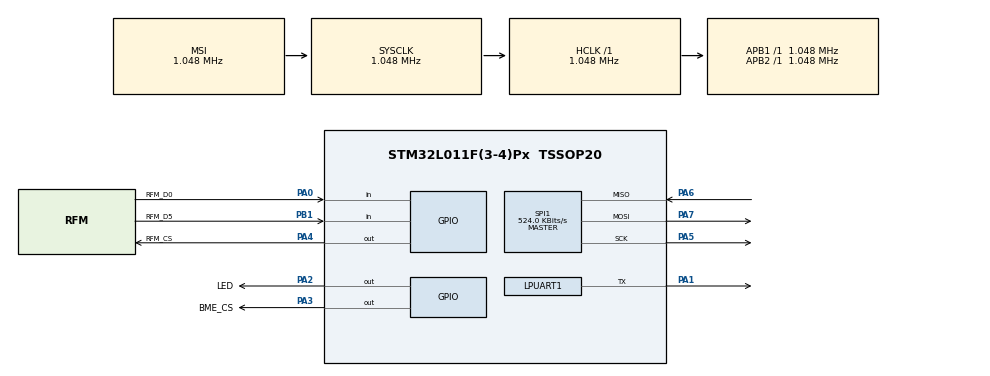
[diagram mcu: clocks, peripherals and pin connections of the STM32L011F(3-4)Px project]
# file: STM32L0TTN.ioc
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LPUART1.BaudRate=115200
LPUART1.Mode=UART_MODE_TX
LPUART1.WordLength=UART_WORDLENGTH_8B
Mcu.Family=STM32L0
Mcu.Name=STM32L011F(3-4)Px
Mcu.Package=TSSOP20
Mcu.UserConstants=INTERVAL_S,300
NVIC.RTC_IRQn=true\:0\:0\:false\:false\:true\:true\:true
PA0-CK_IN.GPIO_Label=RFM_D0
PA0-CK_IN.Signal=GPIO_Input
PA1.Mode=Half_duplex(single_wire_mode)
PA1.Signal=LPUART1_TX
PA13.Mode=Serial_Wire
PA13.Signal=SYS_SWDIO
PA14.Mode=Serial_Wire
PA14.Signal=SYS_SWCLK
PA2.GPIO_Label=LED
PA2.PinState=GPIO_PIN_SET
PA2.Signal=GPIO_Output
PA3.GPIO_Label=BME_CS
PA3.Signal=GPIO_Output
PA4.GPIO_Label=RFM_CS
PA4.Signal=GPIO_Output
PA5.Mode=Full_Duplex_Master
PA5.Signal=SPI1_SCK
PA6.Mode=Full_Duplex_Master
PA6.Signal=SPI1_MISO
PA7.Mode=Full_Duplex_Master
PA7.Signal=SPI1_MOSI
PB1.GPIO_Label=RFM_D5
PB1.Signal=GPIO_Input
ProjectManager.HeapSize=0x200
ProjectManager.StackSize=0x400
ProjectManager.TargetToolchain=STM32CubeIDE
RCC.AHBFreq_Value=1048000
RCC.APB1Freq_Value=1048000
RCC.APB1TimFreq_Value=1048000
RCC.APB2Freq_Value=1048000
RCC.APB2TimFreq_Value=1048000
RCC.HCLKFreq_Value=1048000
RCC.HSE_VALUE=8000000
RCC.HSI16_VALUE=16000000
RCC.HSI_VALUE=16000000
RCC.LSE_VALUE=32768
RCC.MSIClockRange=RCC_MSIRANGE_4
RCC.MSI_VALUE=1048000
RCC.SYSCLKFreq_VALUE=1048000
RCC.VCOOutputFreq_Value=48000000
RTC.SynchPrediv=290
RTC.WakeUpClock-WakeUp=RTC_WAKEUPCLOCK_CK_SPRE_16BITS
RTC.WakeUpCounter-WakeUp=INTERVAL_S
SPI1.CalculateBaudRate=524.0 KBits/s
SPI1.Direction=SPI_DIRECTION_2LINES
SPI1.Mode=SPI_MODE_MASTER
SPI1.VirtualType=VM_MASTER
VP_ADC_Vref_Input.Mode=IN-Vrefint
VP_RTC_VS_RTC_Activate.Mode=RTC_Enabled
VP_RTC_VS_RTC_WakeUp_intern.Mode=WakeUp
board=custom

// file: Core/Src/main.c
/* USER CODE BEGIN Header */
/**
  ******************************************************************************
  * @file           : main.c
  * @brief          : Main program body
  ******************************************************************************
  * @attention
  *
  * <h2><center>&copy; Copyright (c) 2020 STMicroelectronics.
  * All rights reserved.</center></h2>
  *
  * This software component is licensed by ST under BSD 3-Clause license,
  * the "License"; You may not use this file except in compliance with the
  * License. You may obtain a copy of the License at:
  *                        opensource.org/licenses/BSD-3-Clause
  *
  ******************************************************************************
  */
/* USER CODE END Header */
#include "main.h"

/* USER CODE BEGIN Includes */

#include <bme280.h>
#include <rfm95.h>
#include <lorawan.h>
#include <secconfig.h>

/* USER CODE END Includes */

/* USER CODE BEGIN PTD */

typedef struct pins {
  GPIO_TypeDef *port;
  uint32_t     pin;
} pin_t;

/* USER CODE END PTD */

/* USER CODE BEGIN PD */

// no LED and no UART after this frame
#define QUIET_FRAME 10

/* USER CODE END PD */

RTC_HandleTypeDef hrtc;

/* USER CODE BEGIN PV */

// BME280 driver requires SPI read/write interface functions to use only one uint8 as device id.
// STM32 pins in LL libs are defined by port and pin so pin alone cannot be used as device id.
// To be able to reuse the same SPI functions for RFM and BME280, I use a dev -> port/pin mapping table
pin_t pins[] = {
  { BME_CS_GPIO_Port, BME_CS_Pin },
  { RFM_CS_GPIO_Port, RFM_CS_Pin },
  { RFM_D0_GPIO_Port, RFM_D0_Pin },
  { RFM_D5_GPIO_Port, RFM_D5_Pin }
};

// must correspond to array index above
typedef enum {
  BME280_CS_PIN_ID,
  RFM95_NSS_PIN_ID,
  RFM95_DIO0_PIN_ID,
  RFM95_DIO5_PIN_ID
} pin_id_t;

struct bme280_dev bme280_dev;
struct bme280_data bme280_data;
uint32_t bme280_delay;

rfm95_t rfm95_dev;
uint8_t rfm95_ver;
lorawan_t lorawan;
uint16_t frame_counter;

/* USER CODE END PV */

void SystemClock_Config(void);
static void MX_GPIO_Init(void);
static void MX_LPUART1_UART_Init(void);
static void MX_RTC_Init(void);
static void MX_SPI1_Init(void);
static void MX_ADC_Init(void);

/* USER CODE BEGIN 0 */

void putstr( const char *str ) {
  if( frame_counter > QUIET_FRAME )  return;
  LL_LPUART_Enable(LPUART1);
  while (*str) {
    while (!LL_LPUART_IsActiveFlag_TXE(LPUART1));
    LL_LPUART_TransmitData8(LPUART1, (uint8_t)*str++);
  }
  while (!LL_LPUART_IsActiveFlag_TC(LPUART1));
  LL_LPUART_Disable(LPUART1);
}

void putul( unsigned long u ) {
  if( frame_counter > QUIET_FRAME )  return;
  char num[11];
  char *d = &num[sizeof(num)-1];
  *d = '\0';
  if( u ) {
    while(u) {
      *(--d) = '0' + u % 10;
      u /= 10;
    }
  }
  else {
    *(--d) = '0';
  }
  putstr(d);
}

void puthex( uint8_t val ) {
  if( frame_counter > QUIET_FRAME )  return;
  static char hex[] = "0123456789abcdef";
  char msg[3];
  msg[0] = hex[val >> 4];
  msg[1] = hex[val & 0xf];
  msg[2] = '\0';
  putstr(msg);
}

int8_t duplexSpi(uint8_t dev, uint8_t addr, uint8_t *data, uint16_t len) {
  LL_SPI_Enable(SPI1);
  LL_GPIO_ResetOutputPin(pins[dev].port, pins[dev].pin);

  LL_SPI_TransmitData8(SPI1, addr);

  while (!LL_SPI_IsActiveFlag_RXNE(SPI1));   // wait for rx to finish
  LL_SPI_ReceiveData8(SPI1);                 // avoid overflow

  while (len--) {
    while (!LL_SPI_IsActiveFlag_TXE(SPI1));  // wait for tx to finish
    LL_SPI_TransmitData8(SPI1, *data);       // send data or generate clock for slave

    while (!LL_SPI_IsActiveFlag_RXNE(SPI1)); // wait for rx to finish
    *data = LL_SPI_ReceiveData8(SPI1);       // read receive result
    data++;
  }

  while (LL_SPI_IsActiveFlag_BSY(SPI1));
  LL_GPIO_SetOutputPin(pins[dev].port, pins[dev].pin);
  LL_SPI_Disable(SPI1);

  return 0;
}

uint8_t readPin(uint8_t dev) {
  return LL_GPIO_IsInputPinSet(pins[dev].port, pins[dev].pin);
}

uint8_t *serialize(uint8_t *data, uint32_t value, size_t size) {
  while( size-- ) {
    *(data++) = value & 0xff;
    value >>= 8;
  }
  return data;
}

uint16_t getVdda() {
  LL_ADC_Enable(ADC1);

  while( !LL_ADC_IsActiveFlag_ADRDY(ADC1) );
  LL_ADC_REG_StartConversion(ADC1);
  while( !LL_ADC_IsActiveFlag_EOC(ADC1) );

  uint16_t mV = LL_ADC_REG_ReadConversionData12(ADC1);
  mV = VREFINT_CAL_VREF * (*VREFINT_CAL_ADDR) / mV;

  while( !LL_ADC_IsActiveFlag_EOS(ADC1) );
  LL_ADC_Disable(ADC1);

  return mV;
}

void bme_setup() {
  bme280_dev.dev_id = BME280_CS_PIN_ID;
  bme280_dev.intf = BME280_SPI_INTF;
  bme280_dev.read = duplexSpi;
  bme280_dev.write = duplexSpi;
  bme280_dev.delay_ms = LL_mDelay;

  int bme_init = 0;

  while( !bme_init ) {
    if (bme280_init(&bme280_dev) == BME280_OK) {
      bme280_dev.settings.osr_h = BME280_OVERSAMPLING_1X;
      bme280_dev.settings.osr_p = BME280_OVERSAMPLING_16X;
      bme280_dev.settings.osr_t = BME280_OVERSAMPLING_2X;
      bme280_dev.settings.filter = BME280_FILTER_COEFF_16;
      if( bme280_set_sensor_settings(BME280_OSR_PRESS_SEL | BME280_OSR_TEMP_SEL | BME280_OSR_HUM_SEL | BME280_FILTER_SEL, &bme280_dev) == BME280_OK ) {
        bme280_delay = bme280_cal_meas_delay(&bme280_dev.settings);
        putstr(" BME delayMs:"); putul(bme280_delay);
        if( bme280_delay ) {
          bme_init = 1;
        }
      }
      else {
        putstr(" BME setup error!\n");
      }
    }
    else {
      putstr(" BME init error!\n");
    }

    if( ! bme_init ) {
      LL_mDelay(1000);
    }
  }
}

int bme_read() {
  bme280_data.humidity = 0;
  if( bme280_set_sensor_mode(BME280_FORCED_MODE, &bme280_dev) == BME280_OK ) {
    bme280_dev.delay_ms(bme280_delay);
    bme280_get_sensor_data(BME280_ALL, &bme280_data, &bme280_dev);
  }

  return bme280_data.humidity >         0 && bme280_data.humidity  <= 100000
      && bme280_data.pressure >     81000 && bme280_data.pressure  <  110000
      && bme280_data.temperature > -50000 && bme280_data.temperature <= 9500;
}

void bme_print() {
  putstr(" T:");      putul(bme280_data.temperature);
  putstr(" c°C, H:"); putul(bme280_data.humidity);
  putstr(" m%, P:");  putul(bme280_data.pressure);
  putstr(" Pa");
}

void rfm_setup( uint32_t seed ) {
  rfm95_dev.nss_pin_id = RFM95_NSS_PIN_ID;
  rfm95_dev.dio0_pin_id = RFM95_DIO0_PIN_ID;
  rfm95_dev.dio5_pin_id = RFM95_DIO5_PIN_ID;
  rfm95_dev.spi_write = duplexSpi;
  rfm95_dev.spi_read = duplexSpi;
  rfm95_dev.delay = LL_mDelay;
  rfm95_dev.pin_read = readPin;

  while( rfm95_ver != 0x12 ) {
    rfm95_ver = rfm95_init(&rfm95_dev, seed);
  }

  lorawan_init(&lorawan, &rfm95_dev);
  lorawan_set_keys(&lorawan, NwkSkey, AppSkey, DevAddr);

  // Print test package
  if( 0 ) {
      uint8_t buf[8];
      for( size_t i=0; i<sizeof(buf); i++ ) {
        buf[i] = i;
      }

    lorawan_send_data(&lorawan, buf, sizeof(buf), 0);
  }
}

/* USER CODE END 0 */

int main(void)
{

  /* MCU Configuration--------------------------------------------------------*/

  /* Reset of all peripherals, Initializes the Flash interface and the Systick. */
  HAL_Init();

  /* Configure the system clock */
  SystemClock_Config();

  /* Initialize all configured peripherals */
  MX_GPIO_Init();
  MX_LPUART1_UART_Init();
  MX_RTC_Init();
  MX_SPI1_Init();
  MX_ADC_Init();
  /* USER CODE BEGIN 2 */

  LL_GPIO_SetOutputPin(pins[BME280_CS_PIN_ID].port, pins[BME280_CS_PIN_ID].pin);
  LL_GPIO_SetOutputPin(pins[RFM95_NSS_PIN_ID].port, pins[RFM95_NSS_PIN_ID].pin);

  frame_counter = (uint16_t)HAL_RTCEx_BKUPRead(&hrtc, RTC_BKP_DR0);

  // After a few standby cycles don't waste power on led
  if( frame_counter <= QUIET_FRAME ) {
    LL_GPIO_SetOutputPin(LED_GPIO_Port, LED_Pin);
  }

  putstr("\nStart ST32ML0TTN 1.2 " __DATE__ " " __TIME__ " device 0x");
  for( unsigned i = 0; i < 4; i++ ) {
    puthex(DevAddr[i]);
  }

  if(__HAL_PWR_GET_FLAG(PWR_FLAG_SB) != RESET) {
    putstr(" from standby");
    __HAL_PWR_CLEAR_FLAG(PWR_FLAG_SB);
  }
  else {
    putstr(" from reset");
    // At first power on give a button cell a bit of time
    // to charge a capacitor before sending something to prevent boot loop
    LL_mDelay(5000);
  }

  rfm_setup(frame_counter);
  bme_setup();

  /* USER CODE END 2 */

  /* Infinite loop */
  /* USER CODE BEGIN WHILE */
  while (1)
  {
    putstr(" standbys:"); putul(frame_counter);

    if( bme_read() ) {
      bme_print();

      uint16_t mV = getVdda();
      putstr(" mV:"); putul(mV);

      uint8_t Data[sizeof(bme280_data)+sizeof(mV)];
      uint8_t *data = Data;
      data = serialize(data, mV, sizeof(mV));
      data = serialize(data, (uint32_t)bme280_data.temperature, sizeof(bme280_data.temperature));
      data = serialize(data, bme280_data.humidity, sizeof(bme280_data.humidity));
      serialize(data, bme280_data.pressure, sizeof(bme280_data.pressure));

      putstr(" send ");
      putul(lorawan_send_data(&lorawan, Data, sizeof(Data), frame_counter)/1000);
      putstr(" kHz");
    }

    LL_GPIO_ResetOutputPin(LED_GPIO_Port, LED_Pin);

    if( frame_counter == QUIET_FRAME ) {
      putstr(" continue quietly\n");
    }

    HAL_RTCEx_BKUPWrite(&hrtc, RTC_BKP_DR0, ++frame_counter);

    putstr(" wake:"); putul(INTERVAL_S); putstr(" s");

    HAL_PWREx_EnableUltraLowPower();
    HAL_PWREx_EnableFastWakeUp();
    __HAL_PWR_CLEAR_FLAG(PWR_FLAG_WU);
    HAL_PWR_EnterSTANDBYMode();

    putstr(" STANDBY ERROR\n");

    LL_mDelay(60000);

    HAL_DeInit();
    NVIC_SystemReset();

    /* USER CODE END WHILE */

  }
}

void SystemClock_Config(void)
{
  RCC_OscInitTypeDef RCC_OscInitStruct = {0};
  RCC_ClkInitTypeDef RCC_ClkInitStruct = {0};
  RCC_PeriphCLKInitTypeDef PeriphClkInit = {0};

  /** Configure the main internal regulator output voltage
  */
  __HAL_PWR_VOLTAGESCALING_CONFIG(PWR_REGULATOR_VOLTAGE_SCALE1);
  /** Initializes the RCC Oscillators according to the specified parameters
  * in the RCC_OscInitTypeDef structure.
  */
  RCC_OscInitStruct.OscillatorType = RCC_OSCILLATORTYPE_LSI|RCC_OSCILLATORTYPE_MSI;
  RCC_OscInitStruct.LSIState = RCC_LSI_ON;
  RCC_OscInitStruct.MSIState = RCC_MSI_ON;
  RCC_OscInitStruct.MSICalibrationValue = 0;
  RCC_OscInitStruct.MSIClockRange = RCC_MSIRANGE_4;
  RCC_OscInitStruct.PLL.PLLState = RCC_PLL_NONE;
  if (HAL_RCC_OscConfig(&RCC_OscInitStruct) != HAL_OK)
  {
    Error_Handler();
  }
  /** Initializes the CPU, AHB and APB buses clocks
  */
  RCC_ClkInitStruct.ClockType = RCC_CLOCKTYPE_HCLK|RCC_CLOCKTYPE_SYSCLK
                              |RCC_CLOCKTYPE_PCLK1|RCC_CLOCKTYPE_PCLK2;
  RCC_ClkInitStruct.SYSCLKSource = RCC_SYSCLKSOURCE_MSI;
  RCC_ClkInitStruct.AHBCLKDivider = RCC_SYSCLK_DIV1;
  RCC_ClkInitStruct.APB1CLKDivider = RCC_HCLK_DIV1;
  RCC_ClkInitStruct.APB2CLKDivider = RCC_HCLK_DIV1;

  if (HAL_RCC_ClockConfig(&RCC_ClkInitStruct, FLASH_LATENCY_0) != HAL_OK)
  {
    Error_Handler();
  }
  PeriphClkInit.PeriphClockSelection = RCC_PERIPHCLK_LPUART1|RCC_PERIPHCLK_RTC;
  PeriphClkInit.Lpuart1ClockSelection = RCC_LPUART1CLKSOURCE_PCLK1;
  PeriphClkInit.RTCClockSelection = RCC_RTCCLKSOURCE_LSI;
  if (HAL_RCCEx_PeriphCLKConfig(&PeriphClkInit) != HAL_OK)
  {
    Error_Handler();
  }
}

static void MX_ADC_Init(void)
{

  LL_ADC_REG_InitTypeDef ADC_REG_InitStruct = {0};
  LL_ADC_InitTypeDef ADC_InitStruct = {0};

  /* Peripheral clock enable */
  LL_APB2_GRP1_EnableClock(LL_APB2_GRP1_PERIPH_ADC1);

  /** Configure Regular Channel
  */
  LL_ADC_REG_SetSequencerChAdd(ADC1, LL_ADC_CHANNEL_VREFINT);
  LL_ADC_SetCommonPathInternalCh(__LL_ADC_COMMON_INSTANCE(ADC1), LL_ADC_PATH_INTERNAL_VREFINT);
  /** Common config
  */
  ADC_REG_InitStruct.TriggerSource = LL_ADC_REG_TRIG_SOFTWARE;
  ADC_REG_InitStruct.SequencerDiscont = LL_ADC_REG_SEQ_DISCONT_DISABLE;
  ADC_REG_InitStruct.ContinuousMode = LL_ADC_REG_CONV_SINGLE;
  ADC_REG_InitStruct.DMATransfer = LL_ADC_REG_DMA_TRANSFER_NONE;
  ADC_REG_InitStruct.Overrun = LL_ADC_REG_OVR_DATA_PRESERVED;
  LL_ADC_REG_Init(ADC1, &ADC_REG_InitStruct);
  LL_ADC_SetSamplingTimeCommonChannels(ADC1, LL_ADC_SAMPLINGTIME_1CYCLE_5);
  LL_ADC_SetOverSamplingScope(ADC1, LL_ADC_OVS_DISABLE);
  LL_ADC_REG_SetSequencerScanDirection(ADC1, LL_ADC_REG_SEQ_SCAN_DIR_FORWARD);
  LL_ADC_SetCommonFrequencyMode(__LL_ADC_COMMON_INSTANCE(ADC1), LL_ADC_CLOCK_FREQ_MODE_LOW);
  LL_ADC_DisableIT_EOC(ADC1);
  LL_ADC_DisableIT_EOS(ADC1);

   /* Enable ADC internal voltage regulator */
   LL_ADC_EnableInternalRegulator(ADC1);
   /* Delay for ADC internal voltage regulator stabilization. */
   /* Compute number of CPU cycles to wait for, from delay in us. */
   /* Note: Variable divided by 2 to compensate partially */
   /* CPU processing cycles (depends on compilation optimization). */
   /* Note: If system core clock frequency is below 200kHz, wait time */
   /* is only a few CPU processing cycles. */
   uint32_t wait_loop_index;
   wait_loop_index = ((LL_ADC_DELAY_INTERNAL_REGUL_STAB_US * (SystemCoreClock / (100000 * 2))) / 10);
   while(wait_loop_index != 0)
     {
   wait_loop_index--;
     }
  ADC_InitStruct.Clock = LL_ADC_CLOCK_SYNC_PCLK_DIV1;
  ADC_InitStruct.Resolution = LL_ADC_RESOLUTION_12B;
  ADC_InitStruct.DataAlignment = LL_ADC_DATA_ALIGN_RIGHT;
  ADC_InitStruct.LowPowerMode = LL_ADC_LP_MODE_NONE;
  LL_ADC_Init(ADC1, &ADC_InitStruct);

}

static void MX_LPUART1_UART_Init(void)
{

  LL_LPUART_InitTypeDef LPUART_InitStruct = {0};

  LL_GPIO_InitTypeDef GPIO_InitStruct = {0};

  /* Peripheral clock enable */
  LL_APB1_GRP1_EnableClock(LL_APB1_GRP1_PERIPH_LPUART1);

  LL_IOP_GRP1_EnableClock(LL_IOP_GRP1_PERIPH_GPIOA);
  /**LPUART1 GPIO Configuration
  PA1   ------> LPUART1_TX
  */
  GPIO_InitStruct.Pin = LL_GPIO_PIN_1;
  GPIO_InitStruct.Mode = LL_GPIO_MODE_ALTERNATE;
  GPIO_InitStruct.Speed = LL_GPIO_SPEED_FREQ_VERY_HIGH;
  GPIO_InitStruct.OutputType = LL_GPIO_OUTPUT_OPENDRAIN;
  GPIO_InitStruct.Pull = LL_GPIO_PULL_UP;
  GPIO_InitStruct.Alternate = LL_GPIO_AF_6;
  LL_GPIO_Init(GPIOA, &GPIO_InitStruct);

  LPUART_InitStruct.BaudRate = 115200;
  LPUART_InitStruct.DataWidth = LL_LPUART_DATAWIDTH_8B;
  LPUART_InitStruct.StopBits = LL_LPUART_STOPBITS_1;
  LPUART_InitStruct.Parity = LL_LPUART_PARITY_NONE;
  LPUART_InitStruct.TransferDirection = LL_LPUART_DIRECTION_TX;
  LL_LPUART_Init(LPUART1, &LPUART_InitStruct);
  LL_LPUART_EnableHalfDuplex(LPUART1);
  LL_LPUART_DisableRTSHWFlowCtrl(LPUART1);
  LL_LPUART_DisableIT_CTS(LPUART1);
  LL_LPUART_EnableCTSHWFlowCtrl(LPUART1);
  LL_LPUART_DisableIT_ERROR(LPUART1);
  LL_LPUART_DisableCTSHWFlowCtrl(LPUART1);
  LL_LPUART_IsActiveFlag_CTS(LPUART1);

}

static void MX_RTC_Init(void)
{

  /** Initialize RTC Only
  */
  hrtc.Instance = RTC;
  hrtc.Init.HourFormat = RTC_HOURFORMAT_24;
  hrtc.Init.AsynchPrediv = 127;
  hrtc.Init.SynchPrediv = 290;
  hrtc.Init.OutPut = RTC_OUTPUT_DISABLE;
  hrtc.Init.OutPutRemap = RTC_OUTPUT_REMAP_NONE;
  hrtc.Init.OutPutPolarity = RTC_OUTPUT_POLARITY_HIGH;
  hrtc.Init.OutPutType = RTC_OUTPUT_TYPE_OPENDRAIN;
  if (HAL_RTC_Init(&hrtc) != HAL_OK)
  {
    Error_Handler();
  }
  /** Enable the WakeUp
  */
  if (HAL_RTCEx_SetWakeUpTimer_IT(&hrtc, INTERVAL_S, RTC_WAKEUPCLOCK_CK_SPRE_16BITS) != HAL_OK)
  {
    Error_Handler();
  }

}

static void MX_SPI1_Init(void)
{

  LL_SPI_InitTypeDef SPI_InitStruct = {0};

  LL_GPIO_InitTypeDef GPIO_InitStruct = {0};

  /* Peripheral clock enable */
  LL_APB2_GRP1_EnableClock(LL_APB2_GRP1_PERIPH_SPI1);

  LL_IOP_GRP1_EnableClock(LL_IOP_GRP1_PERIPH_GPIOA);
  /**SPI1 GPIO Configuration
  PA5   ------> SPI1_SCK
  PA6   ------> SPI1_MISO
  PA7   ------> SPI1_MOSI
  */
  GPIO_InitStruct.Pin = LL_GPIO_PIN_5;
  GPIO_InitStruct.Mode = LL_GPIO_MODE_ALTERNATE;
  GPIO_InitStruct.Speed = LL_GPIO_SPEED_FREQ_VERY_HIGH;
  GPIO_InitStruct.OutputType = LL_GPIO_OUTPUT_PUSHPULL;
  GPIO_InitStruct.Pull = LL_GPIO_PULL_NO;
  GPIO_InitStruct.Alternate = LL_GPIO_AF_0;
  LL_GPIO_Init(GPIOA, &GPIO_InitStruct);

  GPIO_InitStruct.Pin = LL_GPIO_PIN_6;
  GPIO_InitStruct.Mode = LL_GPIO_MODE_ALTERNATE;
  GPIO_InitStruct.Speed = LL_GPIO_SPEED_FREQ_VERY_HIGH;
  GPIO_InitStruct.OutputType = LL_GPIO_OUTPUT_PUSHPULL;
  GPIO_InitStruct.Pull = LL_GPIO_PULL_NO;
  GPIO_InitStruct.Alternate = LL_GPIO_AF_0;
  LL_GPIO_Init(GPIOA, &GPIO_InitStruct);

  GPIO_InitStruct.Pin = LL_GPIO_PIN_7;
  GPIO_InitStruct.Mode = LL_GPIO_MODE_ALTERNATE;
  GPIO_InitStruct.Speed = LL_GPIO_SPEED_FREQ_VERY_HIGH;
  GPIO_InitStruct.OutputType = LL_GPIO_OUTPUT_PUSHPULL;
  GPIO_InitStruct.Pull = LL_GPIO_PULL_NO;
  GPIO_InitStruct.Alternate = LL_GPIO_AF_0;
  LL_GPIO_Init(GPIOA, &GPIO_InitStruct);

  /* SPI1 parameter configuration*/
  SPI_InitStruct.TransferDirection = LL_SPI_FULL_DUPLEX;
  SPI_InitStruct.Mode = LL_SPI_MODE_MASTER;
  SPI_InitStruct.DataWidth = LL_SPI_DATAWIDTH_8BIT;
  SPI_InitStruct.ClockPolarity = LL_SPI_POLARITY_LOW;
  SPI_InitStruct.ClockPhase = LL_SPI_PHASE_1EDGE;
  SPI_InitStruct.NSS = LL_SPI_NSS_SOFT;
  SPI_InitStruct.BaudRate = LL_SPI_BAUDRATEPRESCALER_DIV2;
  SPI_InitStruct.BitOrder = LL_SPI_MSB_FIRST;
  SPI_InitStruct.CRCCalculation = LL_SPI_CRCCALCULATION_DISABLE;
  SPI_InitStruct.CRCPoly = 7;
  LL_SPI_Init(SPI1, &SPI_InitStruct);
  LL_SPI_SetStandard(SPI1, LL_SPI_PROTOCOL_MOTOROLA);

}

static void MX_GPIO_Init(void)
{
  LL_GPIO_InitTypeDef GPIO_InitStruct = {0};

  /* GPIO Ports Clock Enable */
  LL_IOP_GRP1_EnableClock(LL_IOP_GRP1_PERIPH_GPIOA);
  LL_IOP_GRP1_EnableClock(LL_IOP_GRP1_PERIPH_GPIOB);

  /**/
  LL_GPIO_SetOutputPin(LED_GPIO_Port, LED_Pin);

  /**/
  LL_GPIO_ResetOutputPin(BME_CS_GPIO_Port, BME_CS_Pin);

  /**/
  LL_GPIO_ResetOutputPin(RFM_CS_GPIO_Port, RFM_CS_Pin);

  /**/
  GPIO_InitStruct.Pin = RFM_D0_Pin;
  GPIO_InitStruct.Mode = LL_GPIO_MODE_INPUT;
  GPIO_InitStruct.Pull = LL_GPIO_PULL_NO;
  LL_GPIO_Init(RFM_D0_GPIO_Port, &GPIO_InitStruct);

  /**/
  GPIO_InitStruct.Pin = LED_Pin;
  GPIO_InitStruct.Mode = LL_GPIO_MODE_OUTPUT;
  GPIO_InitStruct.Speed = LL_GPIO_SPEED_FREQ_LOW;
  GPIO_InitStruct.OutputType = LL_GPIO_OUTPUT_PUSHPULL;
  GPIO_InitStruct.Pull = LL_GPIO_PULL_NO;
  LL_GPIO_Init(LED_GPIO_Port, &GPIO_InitStruct);

  /**/
  GPIO_InitStruct.Pin = BME_CS_Pin;
  GPIO_InitStruct.Mode = LL_GPIO_MODE_OUTPUT;
  GPIO_InitStruct.Speed = LL_GPIO_SPEED_FREQ_LOW;
  GPIO_InitStruct.OutputType = LL_GPIO_OUTPUT_PUSHPULL;
  GPIO_InitStruct.Pull = LL_GPIO_PULL_NO;
  LL_GPIO_Init(BME_CS_GPIO_Port, &GPIO_InitStruct);

  /**/
  GPIO_InitStruct.Pin = RFM_CS_Pin;
  GPIO_InitStruct.Mode = LL_GPIO_MODE_OUTPUT;
  GPIO_InitStruct.Speed = LL_GPIO_SPEED_FREQ_LOW;
  GPIO_InitStruct.OutputType = LL_GPIO_OUTPUT_PUSHPULL;
  GPIO_InitStruct.Pull = LL_GPIO_PULL_NO;
  LL_GPIO_Init(RFM_CS_GPIO_Port, &GPIO_InitStruct);

  /**/
  GPIO_InitStruct.Pin = RFM_D5_Pin;
  GPIO_InitStruct.Mode = LL_GPIO_MODE_INPUT;
  GPIO_InitStruct.Pull = LL_GPIO_PULL_NO;
  LL_GPIO_Init(RFM_D5_GPIO_Port, &GPIO_InitStruct);

}

void Error_Handler(void)
{
}

/************************ (C) COPYRIGHT STMicroelectronics *****END OF FILE****/
